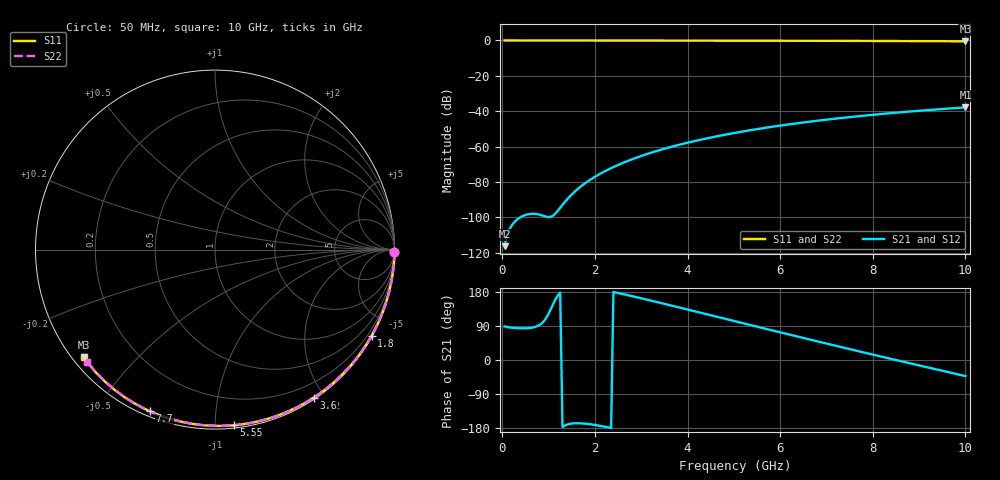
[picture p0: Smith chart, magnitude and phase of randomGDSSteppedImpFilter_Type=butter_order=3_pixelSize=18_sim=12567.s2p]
! freq	dB(S11)	phase(S11)	dB(S12)	phase(S12)
!  dB(S21)	phase(S21)	dB(S22)	phase(S22)
!S-par simulation data
#  GHz  S  DB  R 50
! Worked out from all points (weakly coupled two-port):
!   200 points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, 50 MHz to 10 GHz, reference 50 ohm
!   highest |S21| = -37.83 dB at 10 GHz (marker M1); lowest = -116.3 dB at 50 MHz (marker M2)
!   lowest |S11| = -0.5 dB at 10 GHz (marker M3), VSWR 36.60, Z = 1.54 - j17.9 ohm
!   |S11| at or under -10 dB: nowhere
!   |S22| runs from -0.5 to 0.0 dB; largest |S21 - S12| = 0
!   S11 on the Smith chart (normalised r, x): 50 MHz: open; 1.8 GHz: 0.03, -3.89; 3.6 GHz: 0.02, -1.87; 5.55 GHz: 0.02, -1.11; 7.7 GHz: 0.02, -0.67; 10 GHz: 0.03, -0.36
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0.05  -0.00 -0.8  -116.26 88.5  -116.26 88.5  -0.00 -0.8
0.45  -0.01 -7.3  -99.13 83.5  -99.13 83.5  -0.01 -7.2
0.9  -0.02 -14.5  -99.21 102.8  -99.21 102.8  -0.02 -14.4
1.75  -0.04 -28.0  -81.42 -167.5  -81.42 -167.5  -0.04 -27.6
1.8  -0.04 -28.8  -80.46 -168.1  -80.46 -168.1  -0.04 -28.4
1.85  -0.04 -29.6  -79.56 -168.8  -79.56 -168.8  -0.04 -29.2
2.05  -0.04 -32.7  -76.27 -172.4  -76.27 -172.4  -0.04 -32.3
2.25  -0.05 -35.8  -73.44 -176.9  -73.44 -176.9  -0.05 -35.3
2.55  -0.05 -40.4  -69.79 175.4  -69.79 175.4  -0.05 -39.9
2.95  -0.06 -46.5  -65.74 164.3  -65.74 164.3  -0.06 -45.9
3.4  -0.07 -53.3  -61.95 151.2  -61.95 151.2  -0.07 -52.6
3.6  -0.08 -56.2  -60.47 145.2  -60.47 145.2  -0.07 -55.5
3.9  -0.08 -60.6  -58.42 136.3  -58.42 136.3  -0.08 -59.9
4.3  -0.09 -66.4  -55.98 124.2  -55.98 124.2  -0.09 -65.6
5.05  -0.12 -77.0  -52.10 101.6  -52.10 101.6  -0.12 -76.0
5.55  -0.14 -83.9  -49.90 86.5  -49.90 86.5  -0.14 -82.8
6.1  -0.16 -91.3  -47.76 70.0  -47.76 70.0  -0.16 -90.1
6.7  -0.19 -99.2  -45.70 52.2  -45.70 52.2  -0.19 -97.9
7.7  -0.26 -112.0  -42.78 22.9  -42.78 22.9  -0.25 -110.6
8.35  -0.31 -120.2  -41.17 4.2  -41.17 4.2  -0.30 -118.6
9.2  -0.39 -130.7  -39.32 -20.0  -39.32 -20.0  -0.38 -128.9
10  -0.47 -140.6  -37.83 -42.4  -37.83 -42.4  -0.47 -138.6
